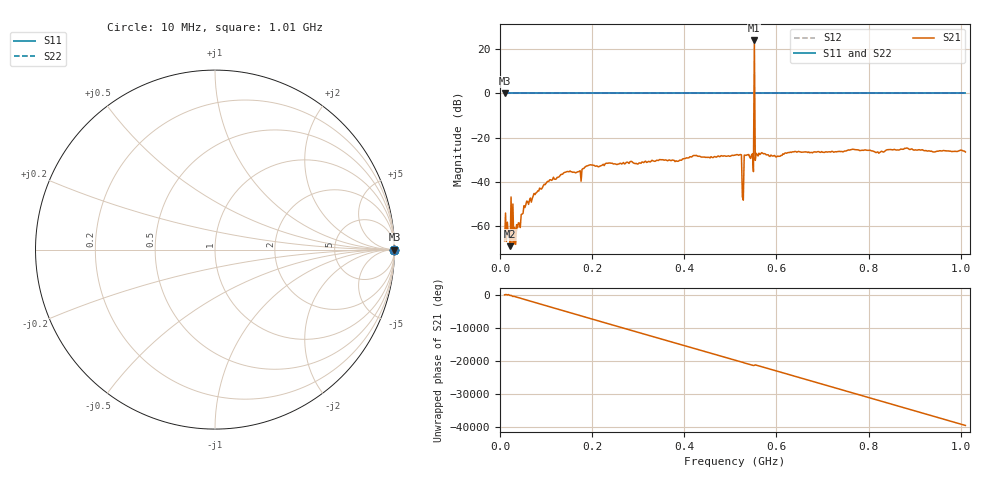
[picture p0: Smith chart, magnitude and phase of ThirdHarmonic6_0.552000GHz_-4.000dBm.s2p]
! 8/15/2025 5:28:52 PM
! C:\ANRITSUVNA\TEMP\TEMP.S2P
! CHANNEL.1
! TR.MEASUREMENT
! RAW.DATA
! RF.CORRECTION.OFF
! AVERAGING.OFF
! IF.BANDWIDTH: 5KHZ
! SWEEPTYPE:  FREQ.SWEEP(Linear)
! Reference Plane Port Info
! PORT:  PORT1  PORT2
! DISTANCE:  0  m  0  m
! TIME:  0  s  0  s
! PHASE.OFFSET:  0  deg.  0  deg.
! LOSS:  0  dB  0  dB
! REF.LOSS:  0  dB  0  dB
! REF.FREQ:  0  Hz  0  Hz
! Power Info
! POWER:  -20  dBm  -20  dBm
! EFF.POWER:  -20  dBm  -20  dBm
! SOURCE.ATTEN:  0  dB  0  dB
! TEST.ATTEN:  0  dB  0  dB
# GHZ S RI R 50.0
! FREQ.GHZ  S11RE  S11IM  S21RE  S21IM  S12RE  S12IM  S22RE  S22IM
!; PortSelection: Port_12
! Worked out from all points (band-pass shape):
!   501 points, 10 MHz to 1.01 GHz, reference 50 ohm
!   highest |S21| = 24.06 dB at 552 MHz (marker M1); lowest = -69.3 dB at 22 MHz (marker M2)
!   |S21| within 3 dB of the highest: 551.8992 MHz to 552.1103 MHz (211.1 kHz wide, 0.0382 % of centre)
!   lowest |S11| = 0.0 dB at 10 MHz (marker M3)
!   |S11| at or under -10 dB: nowhere
!   |S22| runs from 0.0 to 0.0 dB; largest |S21 - S12| = 15
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0.01  1 0  -0.000455 3.41e-05  1 0  1 0
0.022  1 0  0.000262 -0.000222  1 0  1 0
0.028  1 0  0.00262 0.00166  1 0  1 0
0.03  1 0  6.62e-05 0.000375  1 0  1 0
0.034  1 0  0.000151 -0.000345  1 0  1 0
0.056  1 0  -0.000526 0.00294  1 0  1 0
0.104  1 0  0.00594 -0.00828  1 0  1 0
0.178  1 0  -0.0185 -0.0041  1 0  1 0
0.344  1 0  0.0291 -0.00779  1 0  1 0
0.51  1 0  -0.0363 0.0167  1 0  1 0
0.52  1 0  -0.0163 0.0373  1 0  1 0
0.524  1 0  0.027 -0.03  1 0  1 0
0.53  1 0  0.0145 0.0372  1 0  1 0
0.534  1 0  -6.73e-05 -0.0394  1 0  1 0
0.546  1 0  -0.0361 0.0185  1 0  1 0
0.548  1 0  0.0181 0.0389  1 0  1 0
0.552  1 0  11.98 10.54  1 0  1 0
0.556  1 0  -0.0109 0.0425  1 0  1 0
0.558  1 0  0.0388 0.0139  1 0  1 0
0.678  1 0  -0.022 -0.0392  1 0  1 0
0.844  1 0  0.0397 0.0356  1 0  1 0
1.01  1 0  -0.0458 -0.0109  1 0  1 0
